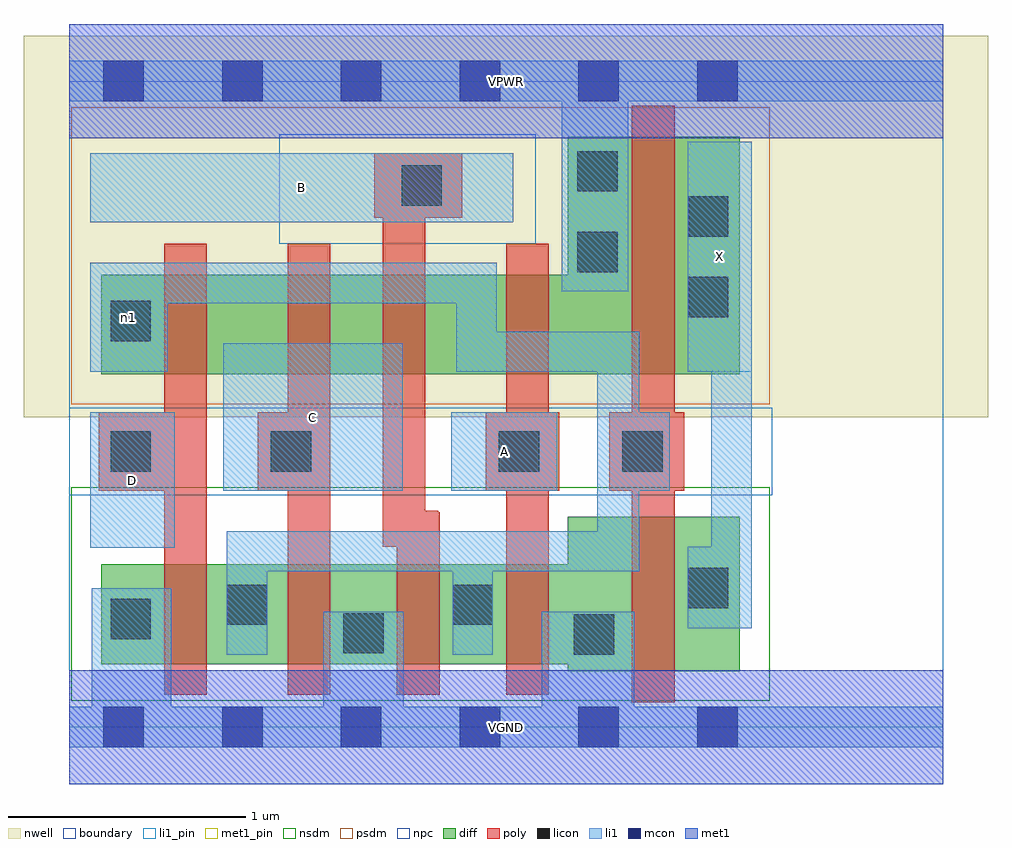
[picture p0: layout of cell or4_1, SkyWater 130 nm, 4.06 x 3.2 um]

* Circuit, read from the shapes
.subckt or4_1 A B C D VGND VPWR X n1
XM1 n1 D VGND VSUBS sky130_fd_pr__nfet_01v8 w=0.42 l=0.18
XM2 VGND C n1 VSUBS sky130_fd_pr__nfet_01v8 w=0.42 l=0.18
XM3 n1 B VGND VSUBS sky130_fd_pr__nfet_01v8 w=0.42 l=0.18
XM4 VGND A n1 VSUBS sky130_fd_pr__nfet_01v8 w=0.42 l=0.18
XM5 X n1 VGND VSUBS sky130_fd_pr__nfet_01v8 w=0.65 l=0.18
XM6 n2 D n1 n3 sky130_fd_pr__pfet_01v8 w=0.42 l=0.18
XM7 n4 C n2 n3 sky130_fd_pr__pfet_01v8 w=0.42 l=0.18
XM8 n5 B n4 n3 sky130_fd_pr__pfet_01v8 w=0.42 l=0.18
XM9 VPWR A n5 n3 sky130_fd_pr__pfet_01v8 w=0.42 l=0.18
XM10 X n1 VPWR n3 sky130_fd_pr__pfet_01v8 w=1 l=0.18
.ends

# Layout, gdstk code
import gdstk
lib = gdstk.Library(unit=1e-6, precision=1e-09)
def R(c, l, rs):  # rectangles x0, y0, x1, y1
    for r in rs: c.add(gdstk.rectangle(r[:2], r[2:], *l))
def A(c, l, x, y, w, h, nx, ny, dx, dy):  # array of equal rectangles
    R(c, l, [(x+i*dx, y+j*dy, x+i*dx+w, y+j*dy+h) for i in range(nx) for j in range(ny)])
nwell = (64, 20)
diff = (65, 20)
poly = (66, 20)
licon = (66, 44)
li1_pin = (67, 16)
li1 = (67, 20)
mcon = (67, 44)
met1_pin = (68, 16)
met1 = (68, 20)
nsdm = (93, 44)
psdm = (94, 20)
npc = (95, 20)
boundary = (235, 4)

or4_1 = lib.new_cell('or4_1')
R(or4_1, nwell, [(-0.19,1.305,3.87,2.91), (0,1.305,3.68,2.91)])
R(or4_1, diff, [(2.1,0.235,2.825,0.885), (0.135,0.265,2.825,0.685), (0.135,1.485,2.825,1.905), (2.1,1.485,2.825,2.485)])
R(or4_1, poly, [(2.37,0.105,2.55,2.615), (0.4,0.135,0.58,2.035), (0.92,0.135,1.1,2.035), (1.38,0.135,1.56,0.905), (1.38,0.135,1.555,0.91), (1.84,0.135,2.02,2.035), (1.32,0.76,1.5,2.415), (0.125,0.995,0.58,1.325), (0.795,0.995,1.1,1.325), (1.755,0.995,2.065,1.325), (2.275,0.995,2.59,1.325), (1.285,2.145,1.655,2.415)])
R(or4_1, licon, [(2.125,0.305,2.295,0.475), (1.155,0.31,1.325,0.48), (0.175,0.37,0.345,0.54), (0.665,0.43,0.835,0.6), (1.615,0.43,1.785,0.6), (2.605,0.5,2.775,0.67), (0.175,1.075,0.345,1.245), (0.85,1.075,1.02,1.245), (1.81,1.075,1.98,1.245), (2.33,1.075,2.5,1.245), (0.175,1.625,0.345,1.795), (2.605,1.725,2.775,1.895), (2.14,1.915,2.31,2.085), (2.605,2.065,2.775,2.235), (1.4,2.195,1.57,2.365), (2.14,2.255,2.31,2.425)])
R(or4_1, li1_pin, [(0.09,0.755,0.445,1.325), (0.65,0.995,1.405,1.615), (1.61,0.995,2.055,1.325), (2.605,1.495,2.875,2.465), (0.09,2.125,1.87,2.415)])
R(or4_1, li1, [(0,-0.085,3.68,0.085), (0.095,-0.085,0.43,0.585), (1.07,-0.085,1.41,0.485), (1.99,-0.085,2.38,0.485), (0.665,0.305,0.835,0.825), (1.615,0.305,1.785,0.825), (2.605,0.415,2.875,0.76), (2.705,0.415,2.875,2.465), (0.665,0.655,2.4,0.825), (2.225,0.655,2.4,1.665), (0.09,0.755,0.445,1.325), (0.65,0.995,1.405,1.615), (1.61,0.995,2.055,1.325), (2.225,0.995,2.53,1.325), (0.09,1.495,0.415,1.955), (1.63,1.495,2.4,1.665), (1.63,1.495,1.8,1.955), (2.605,1.495,2.875,2.465), (0.09,1.785,1.8,1.955), (2.075,1.835,2.355,2.805), (0.09,2.125,1.87,2.415), (0,2.635,3.68,2.805)])
A(or4_1, mcon, 0.145, -0.085, 0.17, 0.17, 6, 2, 0.5, 2.72)
R(or4_1, met1_pin, [(0,-0.24,3.68,0.24), (0,2.48,3.68,2.96)])
R(or4_1, met1, [(0,-0.24,3.68,0.24), (0,2.48,3.68,2.96)])
R(or4_1, nsdm, [(0.01,0.11,2.95,1.01)])
R(or4_1, psdm, [(0.01,1.36,2.95,2.61)])
R(or4_1, npc, [(0,0.975,2.96,1.345), (0.885,2.035,1.965,2.495)])
R(or4_1, boundary, [(0,0,3.68,2.72)])
or4_1.add(gdstk.Label('A', (1.832,1.16), layer=67, texttype=5))
or4_1.add(gdstk.Label('B', (0.98,2.27), layer=67, texttype=5))
or4_1.add(gdstk.Label('C', (1.027,1.305), layer=67, texttype=5))
or4_1.add(gdstk.Label('D', (0.267,1.04), layer=67, texttype=5))
or4_1.add(gdstk.Label('X', (2.74,1.98), layer=67, texttype=5))
or4_1.add(gdstk.Label('n1', (0.252,1.725), layer=67, texttype=5))
or4_1.add(gdstk.Label('VPWR', (1.84,2.72), layer=68, texttype=5))
or4_1.add(gdstk.Label('VGND', (1.84,0), layer=68, texttype=5))
or4_1.add(gdstk.Label('A', (1.832,1.16), layer=67, texttype=16))
or4_1.add(gdstk.Label('B', (0.98,2.27), layer=67, texttype=16))
or4_1.add(gdstk.Label('C', (1.027,1.305), layer=67, texttype=16))
or4_1.add(gdstk.Label('D', (0.267,1.04), layer=67, texttype=16))
or4_1.add(gdstk.Label('X', (2.74,1.98), layer=67, texttype=16))
or4_1.add(gdstk.Label('VPWR', (1.84,2.72), layer=68, texttype=16))
or4_1.add(gdstk.Label('VGND', (1.84,0), layer=68, texttype=16))

lib.write_gds('or4_1.gds')
